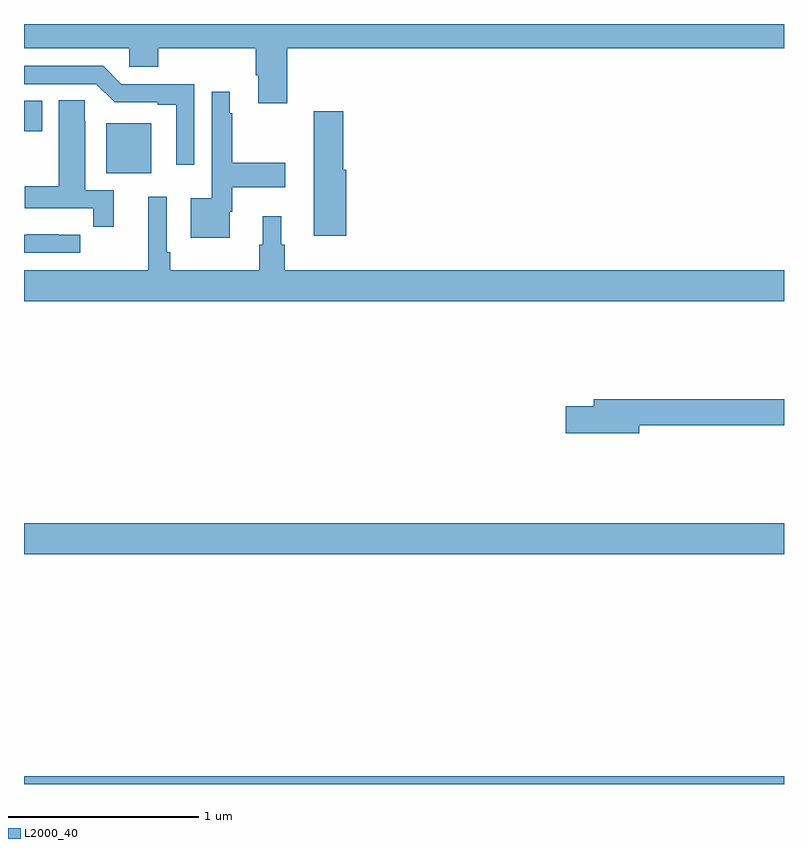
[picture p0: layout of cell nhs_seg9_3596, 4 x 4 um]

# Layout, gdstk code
import gdstk
lib = gdstk.Library(unit=1e-6, precision=1e-09)
def R(c, l, rs):  # rectangles x0, y0, x1, y1
    for r in rs: c.add(gdstk.rectangle(r[:2], r[2:], *l))
def P(c, l, *ps):  # polygons
    for p in ps: c.add(gdstk.Polygon(p, *l))
L2000_40 = (2000, 40)

nhs_seg9_3596 = lib.new_cell('nhs_seg9_3596')
R(nhs_seg9_3596, L2000_40, [(315,1240.5,319,1240.54), (315,1241.708,319,1241.872), (315.434,1243.715,315.67,1243.978), (315,1243.936,315.097,1244.095)])
P(nhs_seg9_3596, L2000_40, [(316.385,1244.372),(319,1244.372),(319,1244.5),(315,1244.5),(315,1244.372),(315.555,1244.372),(315.555,1244.274),(315.707,1244.274),(315.707,1244.372),(316.22,1244.372),(316.22,1244.23),(316.232,1244.23),(316.232,1244.082),(316.385,1244.082)],
  [(315.897,1244.184),(315.513,1244.184),(315.417,1244.28),(315,1244.28),(315,1244.184),(315.381,1244.184),(315.477,1244.088),(315.704,1244.088),(315.704,1244.076),(315.8,1244.076),(315.8,1243.758),(315.897,1243.758)],
  [(316.084,1243.512),(316.096,1243.512),(316.096,1243.64),(316.375,1243.64),(316.375,1243.77),(316.096,1243.77),(316.096,1244.03),(316.084,1244.03),(316.084,1244.143),(315.987,1244.143),(315.987,1243.582),(315.878,1243.582),(315.878,1243.376),(316.084,1243.376)],
  [(315.473,1243.626),(315.322,1243.626),(315.322,1243.988),(315.321,1243.988),(315.321,1244.099),(315.182,1244.099),(315.182,1243.647),(315.005,1243.647),(315.005,1243.53),(315.364,1243.53),(315.364,1243.434),(315.473,1243.434)],
  [(316.697,1243.734),(316.679,1243.734),(316.679,1244.041),(316.525,1244.041),(316.525,1243.858),(316.526,1243.858),(316.526,1243.386),(316.697,1243.386)],
  [(319,1243.204),(316.373,1243.204),(316.373,1243.338),(316.354,1243.338),(316.354,1243.489),(316.256,1243.489),(316.256,1243.338),(316.237,1243.338),(316.237,1243.204),(315.77,1243.204),(315.77,1243.3),(315.75,1243.3),(315.75,1243.591),(315.653,1243.591),(315.653,1243.204),(315,1243.204),(315,1243.04),(319,1243.04)],
  [(315.295,1243.392),(315.182,1243.392),(315.182,1243.393),(315.016,1243.393),(315.016,1243.392),(315,1243.392),(315,1243.296),(315.295,1243.296)],
  [(318.238,1242.388),(319,1242.388),(319,1242.524),(317.999,1242.524),(317.999,1242.488),(317.85,1242.488),(317.85,1242.346),(318.238,1242.346)])

lib.write_gds('nhs_seg9_3596.gds')
